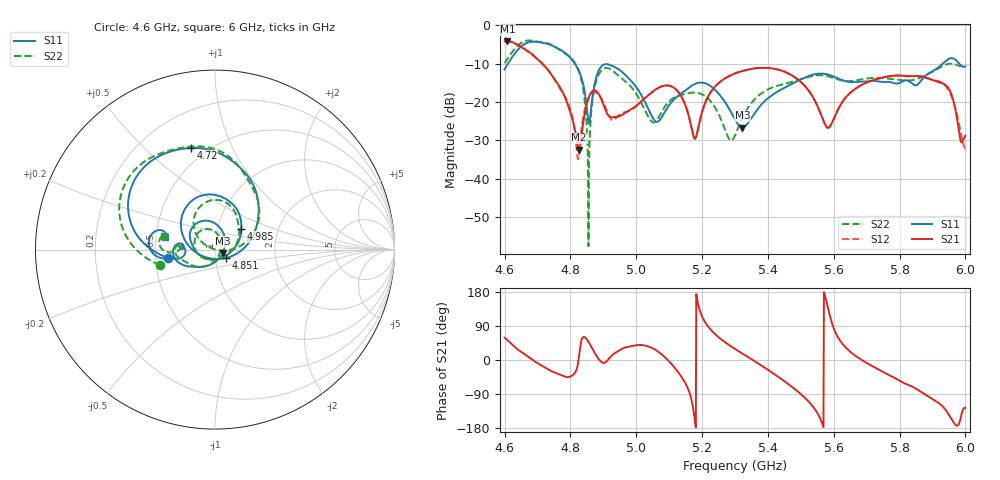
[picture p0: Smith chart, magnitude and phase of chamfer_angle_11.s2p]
! TOUCHSTONE file generated by CST MICROWAVE STUDIO
! Date and time: Sat Nov 30 03:29:17 2024
! Project name: test_tuning.cst
! Parameters = {airCoaxOuterDiameter=3; chamferAngle=55; chamferWidth=24; connectorLength=10; drillingHoleDiameter=4.1; feedLength=60; flareDiameter=130; flareLength=70; gratingDistance=0; gratingGap=1.90274; outletLength=30; polarizerLength=134; probe1Diameter=1.3; probe1Distance=14; probe1Length=1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
! Header version: 2024
! Port assignment regex: !\s*Touchstone port\s*([0-9]+)\s*=\s*(CST MWS port|CST DES external port|CST DES block port)\s*(.+)\s* \(\"(.*)\"\)(\s*mode\s*([0-9]+))?.*
! Touchstone port assignment:
! Touchstone port 1 = CST MWS port 1 ("Input1")
! Touchstone port 2 = CST MWS port 2 ("Input2")
# GHz S MA R 50
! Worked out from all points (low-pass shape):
!   1001 points, 4.6 GHz to 6 GHz, reference 50 ohm
!   highest |S21| = -4.19 dB at 4.608 GHz (marker M1); lowest = -32.4 dB at 4.827 GHz (marker M2)
!   |S21| within 3 dB of the highest: start of sweep to 4.678 GHz
!   lowest |S11| = -26.6 dB at 5.322 GHz (marker M3), VSWR 1.10, Z = 54.3 - j2.18 ohm
!   |S11| at or under -10 dB: start of sweep to 4.610398 GHz; 4.813 GHz to 5.932 GHz (1.119 GHz wide, 20.8 % of centre); 5.980756 GHz to end of sweep
!   |S22| runs from -57.5 to -4.0 dB; largest |S21 - S12| = 0.012
!   S11 on the Smith chart (normalised r, x): 4.6 GHz: 0.58, -0.06; 4.72 GHz: 0.41, +0.70; 4.851 GHz: 1.13, -0.11; 4.985 GHz: 1.30, +0.31; 6 GHz: 0.56, +0.09
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4.6  0.2657 -169.8  0.6144 59.1  0.6154 58.2  0.3189 -164.4
4.6084  0.3063 -174.7  0.6174 52.6  0.6115 51.9  0.3637 -170.3
4.6546  0.5452 152.7  0.5025 18.9  0.5114 18.6  0.6015 151.2
4.7204  0.582 103.4  0.2962 -18.9  0.2997 -18.6  0.5901 103.3
4.7918  0.4072 57.1  0.09254 -45.2  0.1 -42.9  0.4038 59.0
4.8268  0.2469 25.1  0.024 15.6  0.02271 39.7  0.2422 24.6
4.8338  0.2042 14.6  0.03636 53.0  0.04532 58.8  0.188 15.5
4.8506  0.07818 -36.3  0.09828 53.5  0.1006 48.1  0.03838 -6.8
4.8926  0.2857 124.6  0.1116 -4.3  0.1139 -0.5  0.2526 109.7
4.9276  0.2939 81.4  0.06329 13.3  0.05793 11.6  0.2559 69.6
4.985  0.1866 38.1  0.08071 36.5  0.07863 36.3  0.1562 30.8
5.0676  0.05615 -96.1  0.1533 21.4  0.1525 21.6  0.06271 -114.1
5.1292  0.1219 173.3  0.1328 -34.3  0.1324 -34.4  0.1207 161.5
5.1782  0.1718 142.1  0.03341 -160.2  0.03316 -159.5  0.1326 130.4
5.2244  0.1626 101.6  0.1305 82.0  0.1312 81.9  0.104 93.2
5.3  0.05935 22.4  0.2348 29.2  0.2352 29.1  0.03654 -52.4
5.3224  0.04658 -25.4  0.2529 16.9  0.2525 16.9  0.06196 -91.1
5.5338  0.2249 -165.1  0.1213 -119.6  0.1216 -119.8  0.2166 -171.5
5.5842  0.2267 175.8  0.04654 131.5  0.04608 132.2  0.2151 174.5
5.7676  0.1825 172.7  0.2148 -39.5  0.2169 -39.4  0.2006 170.5
5.9356  0.3279 -173.6  0.1711 -126.9  0.1686 -129.2  0.3007 178.2
6  0.2898 165.9  0.03647 -127.0  0.02487 -135.7  0.2911 165.3
